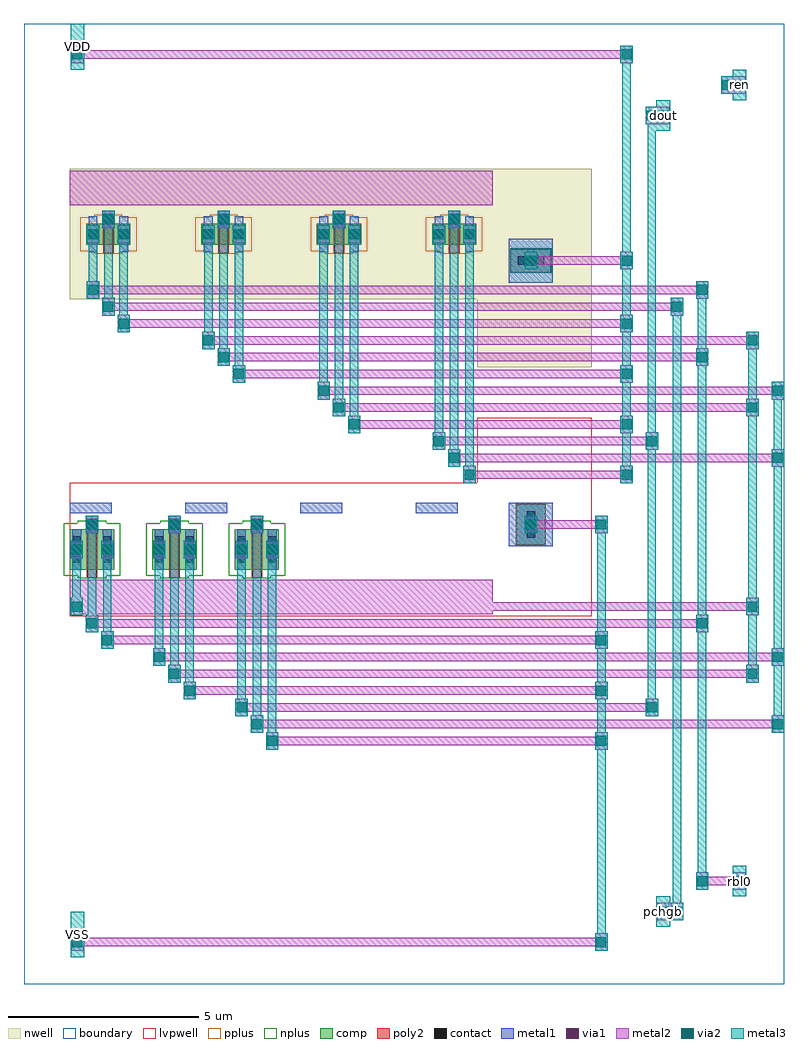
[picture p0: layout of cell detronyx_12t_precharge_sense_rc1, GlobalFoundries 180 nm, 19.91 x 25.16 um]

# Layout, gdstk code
import gdstk
lib = gdstk.Library(unit=1e-6, precision=1e-09)
def R(c, l, rs):  # rectangles x0, y0, x1, y1
    for r in rs: c.add(gdstk.rectangle(r[:2], r[2:], *l))
def A(c, l, x, y, w, h, nx, ny, dx, dy):  # array of equal rectangles
    R(c, l, [(x+i*dx, y+j*dy, x+i*dx+w, y+j*dy+h) for i in range(nx) for j in range(ny)])
boundary = (0, 0)
nwell = (21, 0)
comp = (22, 0)
poly2 = (30, 0)
pplus = (31, 0)
nplus = (32, 0)
contact = (33, 0)
metal1 = (34, 0)
via1 = (35, 0)
metal2 = (36, 0)
via2 = (38, 0)
metal3 = (42, 0)
lvpwell = (204, 0)

detronyx_12t_precharge_s = lib.new_cell('detronyx_12t_precharge_sense_rc1')
R(detronyx_12t_precharge_s, boundary, [(0,0,19.91,25.155)])
R(detronyx_12t_precharge_s, nwell, [(11.88,16.155,14.88,17.935), (1.2,17.935,14.88,21.355)])
A(detronyx_12t_precharge_s, comp, 1.2, 10.86, 1.16, 1.055, 3, 1, 2.16, 0)
A(detronyx_12t_precharge_s, comp, 1.63, 19.365, 1.16, 0.555, 4, 1, 3.02, 0)
R(detronyx_12t_precharge_s, comp, [(12.905,11.515,13.655,12.565), (12.755,18.655,13.805,19.255), (1.63,19.92,2.095,19.925), (2.325,19.92,2.79,19.925), (4.65,19.92,5.115,19.925), (5.345,19.92,5.81,19.925), (7.67,19.92,8.135,19.925), (8.365,19.92,8.83,19.925), (10.69,19.92,11.155,19.925), (11.385,19.92,11.85,19.925)])
A(detronyx_12t_precharge_s, poly2, 1.64, 10.64, 0.28, 1.55, 3, 1, 2.16, 0)
A(detronyx_12t_precharge_s, poly2, 2.07, 19.145, 0.28, 1.04, 4, 1, 3.02, 0)
A(detronyx_12t_precharge_s, pplus, 1.84, 19.135, 0.74, 0.07, 4, 2, 3.02, 0.95)
A(detronyx_12t_precharge_s, pplus, 1.47, 19.205, 1.48, 0.88, 4, 1, 3.02, 0)
R(detronyx_12t_precharge_s, pplus, [(12.885,11.495,13.675,12.585)])
A(detronyx_12t_precharge_s, nplus, 1.41, 10.63, 0.74, 0.07, 3, 2, 2.16, 1.445)
A(detronyx_12t_precharge_s, nplus, 1.04, 10.7, 1.48, 1.375, 3, 1, 2.16, 0)
R(detronyx_12t_precharge_s, nplus, [(12.735,18.635,13.825,19.275)])
A(detronyx_12t_precharge_s, contact, 1.67, 11.93, 0.22, 0.22, 3, 1, 2.16, 0)
A(detronyx_12t_precharge_s, contact, 2.1, 19.925, 0.22, 0.22, 4, 1, 3.02, 0)
R(detronyx_12t_precharge_s, contact, [(1.27,11.04,1.49,11.26), (2.07,11.04,2.29,11.26), (3.43,11.04,3.65,11.26), (4.23,11.04,4.45,11.26), (5.59,11.04,5.81,11.26), (6.39,11.04,6.61,11.26), (1.27,11.51,1.49,11.73), (2.07,11.51,2.29,11.73), (3.43,11.51,3.65,11.73), (4.23,11.51,4.45,11.73), (5.59,11.51,5.81,11.73), (6.39,11.51,6.61,11.73), (13.17,11.695,13.39,11.915), (13.17,12.165,13.39,12.385), (12.935,18.845,13.155,19.065), (13.405,18.845,13.625,19.065), (1.7,19.535,1.92,19.755), (2.5,19.535,2.72,19.755), (4.72,19.535,4.94,19.755), (5.52,19.535,5.74,19.755), (7.74,19.535,7.96,19.755), (8.54,19.535,8.76,19.755), (10.76,19.535,10.98,19.755), (11.56,19.535,11.78,19.755)])
A(detronyx_12t_precharge_s, metal1, 1.62, 11.81, 0.325, 0.46, 3, 1, 2.16, 0)
A(detronyx_12t_precharge_s, metal1, 1.2, 12.335, 1.1, 0.28, 4, 1, 3.02, 0)
A(detronyx_12t_precharge_s, metal1, 2.05, 19.805, 0.325, 0.46, 4, 1, 3.02, 0)
R(detronyx_12t_precharge_s, metal1, [(1.265,10.86,1.495,11.155), (2.065,10.86,2.295,11.155), (3.425,10.86,3.655,11.155), (4.225,10.86,4.455,11.155), (5.585,10.86,5.815,11.155), (6.385,10.86,6.615,11.155), (1.22,11.155,1.545,11.615), (2.02,11.155,2.345,11.615), (3.38,11.155,3.705,11.615), (4.18,11.155,4.505,11.615), (5.54,11.155,5.865,11.615), (6.34,11.155,6.665,11.615), (12.705,11.465,13.855,12.615), (1.265,11.615,1.495,11.915), (2.065,11.615,2.295,11.915), (3.425,11.615,3.655,11.915), (4.225,11.615,4.455,11.915), (5.585,11.615,5.815,11.915), (6.385,11.615,6.615,11.915), (12.705,18.38,13.855,19.53), (1.695,19.17,1.925,19.415), (2.495,19.17,2.725,19.415), (4.715,19.17,4.945,19.415), (5.515,19.17,5.745,19.415), (7.735,19.17,7.965,19.415), (8.535,19.17,8.765,19.415), (10.755,19.17,10.985,19.415), (11.555,19.17,11.785,19.415), (1.65,19.415,1.975,19.875), (2.45,19.415,2.775,19.875), (4.67,19.415,4.995,19.875), (5.47,19.415,5.795,19.875), (7.69,19.415,8.015,19.875), (8.49,19.415,8.815,19.875), (10.71,19.415,11.035,19.875), (11.51,19.415,11.835,19.875), (1.695,19.875,1.925,20.12), (2.495,19.875,2.725,20.12), (4.715,19.875,4.945,20.12), (5.515,19.875,5.745,20.12), (7.735,19.875,7.965,20.12), (8.535,19.875,8.765,20.12), (10.755,19.875,10.985,20.12), (11.555,19.875,11.785,20.12)])
A(detronyx_12t_precharge_s, via1, 1.65, 11.91, 0.26, 0.26, 3, 1, 2.16, 0)
A(detronyx_12t_precharge_s, via1, 2.08, 19.905, 0.26, 0.26, 4, 1, 3.02, 0)
R(detronyx_12t_precharge_s, via1, [(1.25,11.255,1.51,11.515), (2.05,11.255,2.31,11.515), (3.41,11.255,3.67,11.515), (4.21,11.255,4.47,11.515), (5.57,11.255,5.83,11.515), (6.37,11.255,6.63,11.515), (13.15,11.91,13.41,12.17), (13.15,18.825,13.41,19.085), (1.68,19.515,1.94,19.775), (2.48,19.515,2.74,19.775), (4.7,19.515,4.96,19.775), (5.5,19.515,5.76,19.775), (7.72,19.515,7.98,19.775), (8.52,19.515,8.78,19.775), (10.74,19.515,11,19.775), (11.54,19.515,11.8,19.775)])
A(detronyx_12t_precharge_s, metal2, 1.62, 11.81, 0.325, 0.46, 3, 1, 2.16, 0)
A(detronyx_12t_precharge_s, metal2, 2.05, 19.805, 0.325, 0.46, 4, 1, 3.02, 0)
R(detronyx_12t_precharge_s, metal2, [(1.24,0.87,1.565,0.99), (14.965,0.87,15.29,0.99), (1.24,0.99,15.29,1.21), (1.24,1.21,1.565,1.33), (14.965,1.21,15.29,1.33), (16.585,1.67,16.91,1.79), (16.945,1.67,17.27,1.79), (16.585,1.79,17.27,2.01), (16.585,2.01,16.91,2.13), (16.945,2.01,17.27,2.13), (17.605,2.47,17.93,2.59), (18.585,2.47,18.91,2.59), (17.605,2.59,18.91,2.81), (17.605,2.81,17.93,2.93), (18.585,2.81,18.91,2.93), (6.34,6.14,6.665,6.26), (14.965,6.14,15.29,6.26), (6.34,6.26,15.29,6.48), (6.34,6.48,6.665,6.6), (14.965,6.48,15.29,6.6), (5.94,6.58,6.265,6.7), (19.585,6.58,19.91,6.7), (5.94,6.7,19.91,6.92), (5.94,6.92,6.265,7.04), (19.585,6.92,19.91,7.04), (5.54,7.02,5.865,7.14), (16.285,7.02,16.61,7.14), (5.54,7.14,16.61,7.36), (5.54,7.36,5.865,7.48), (16.285,7.36,16.61,7.48), (4.18,7.46,4.505,7.58), (14.965,7.46,15.29,7.58), (4.18,7.58,15.29,7.8), (4.18,7.8,4.505,7.92), (14.965,7.8,15.29,7.92), (3.78,7.9,4.105,8.02), (18.925,7.9,19.25,8.02), (3.78,8.02,19.25,8.24), (3.78,8.24,4.105,8.36), (18.925,8.24,19.25,8.36), (3.38,8.34,3.705,8.46), (19.585,8.34,19.91,8.46), (3.38,8.46,19.91,8.68), (3.38,8.68,3.705,8.8), (19.585,8.68,19.91,8.8), (2.02,8.78,2.345,8.9), (14.965,8.78,15.29,8.9), (2.02,8.9,15.29,9.12), (2.02,9.12,2.345,9.24), (14.965,9.12,15.29,9.24), (1.62,9.22,1.945,9.34), (17.605,9.22,17.93,9.34), (1.62,9.34,17.93,9.56), (1.62,9.56,1.945,9.68), (17.605,9.56,17.93,9.68), (1.22,9.66,1.545,9.69), (18.925,9.66,19.25,9.78), (1.2,9.69,12.28,9.78), (1.2,9.78,19.25,10), (1.2,10,12.28,10.59), (18.925,10,19.25,10.12), (1.22,11.155,1.545,11.615), (2.02,11.155,2.345,11.615), (3.38,11.155,3.705,11.615), (4.18,11.155,4.505,11.615), (5.54,11.155,5.865,11.615), (6.34,11.155,6.665,11.615), (13.12,11.81,13.445,11.93), (14.965,11.81,15.29,11.93), (13.12,11.93,15.29,12.15), (13.12,12.15,13.445,12.27), (14.965,12.15,15.29,12.27), (11.51,13.115,11.835,13.235), (15.625,13.115,15.95,13.235), (11.51,13.235,15.95,13.455), (11.51,13.455,11.835,13.575), (15.625,13.455,15.95,13.575), (11.11,13.555,11.435,13.675), (19.585,13.555,19.91,13.675), (11.11,13.675,19.91,13.895), (11.11,13.895,11.435,14.015), (19.585,13.895,19.91,14.015), (10.71,13.995,11.035,14.115), (16.285,13.995,16.61,14.115), (10.71,14.115,16.61,14.335), (10.71,14.335,11.035,14.455), (16.285,14.335,16.61,14.455), (8.49,14.435,8.815,14.555), (15.625,14.435,15.95,14.555), (8.49,14.555,15.95,14.775), (8.49,14.775,8.815,14.895), (15.625,14.775,15.95,14.895), (8.09,14.875,8.415,14.995), (18.925,14.875,19.25,14.995), (8.09,14.995,19.25,15.215), (8.09,15.215,8.415,15.335), (18.925,15.215,19.25,15.335), (7.69,15.315,8.015,15.435), (19.585,15.315,19.91,15.435), (7.69,15.435,19.91,15.655), (7.69,15.655,8.015,15.775), (19.585,15.655,19.91,15.775), (5.47,15.755,5.795,15.875), (15.625,15.755,15.95,15.875), (5.47,15.875,15.95,16.095), (5.47,16.095,5.795,16.215), (15.625,16.095,15.95,16.215), (5.07,16.195,5.395,16.315), (17.605,16.195,17.93,16.315), (5.07,16.315,17.93,16.535), (5.07,16.535,5.395,16.655), (17.605,16.535,17.93,16.655), (4.67,16.635,4.995,16.755), (18.925,16.635,19.25,16.755), (4.67,16.755,19.25,16.975), (4.67,16.975,4.995,17.095), (18.925,16.975,19.25,17.095), (2.45,17.075,2.775,17.195), (15.625,17.075,15.95,17.195), (2.45,17.195,15.95,17.415), (2.45,17.415,2.775,17.535), (15.625,17.415,15.95,17.535), (2.05,17.515,2.375,17.635), (16.945,17.515,17.27,17.635), (2.05,17.635,17.27,17.855), (2.05,17.855,2.375,17.975), (16.945,17.855,17.27,17.975), (1.65,17.955,1.975,18.075), (17.605,17.955,17.93,18.075), (1.65,18.075,17.93,18.295), (1.65,18.295,1.975,18.415), (17.605,18.295,17.93,18.415), (13.12,18.725,13.445,18.845), (15.625,18.725,15.95,18.845), (13.12,18.845,15.95,19.065), (13.12,19.065,13.445,19.185), (15.625,19.065,15.95,19.185), (1.65,19.415,1.975,19.875), (2.45,19.415,2.775,19.875), (4.67,19.415,4.995,19.875), (5.47,19.415,5.795,19.875), (7.69,19.415,8.015,19.875), (8.49,19.415,8.815,19.875), (10.71,19.415,11.035,19.875), (11.51,19.415,11.835,19.875), (1.2,20.405,12.28,21.305), (16.285,22.525,16.91,22.985), (18.265,23.325,18.91,23.785), (1.24,24.125,1.565,24.245), (15.625,24.125,15.95,24.245), (1.24,24.245,15.95,24.465), (1.24,24.465,1.565,24.585), (15.625,24.465,15.95,24.585)])
A(detronyx_12t_precharge_s, via2, 14.995, 6.24, 0.26, 0.26, 1, 3, 0, 1.32)
A(detronyx_12t_precharge_s, via2, 1.65, 11.91, 0.26, 0.26, 3, 1, 2.16, 0)
A(detronyx_12t_precharge_s, via2, 15.655, 13.215, 0.26, 0.26, 1, 4, 0, 1.32)
A(detronyx_12t_precharge_s, via2, 2.08, 19.905, 0.26, 0.26, 4, 1, 3.02, 0)
R(detronyx_12t_precharge_s, via2, [(1.27,0.97,1.53,1.23), (14.995,0.97,15.255,1.23), (16.615,1.77,16.875,2.03), (16.975,1.77,17.235,2.03), (17.635,2.57,17.895,2.83), (18.615,2.57,18.875,2.83), (6.37,6.24,6.63,6.5), (5.97,6.68,6.23,6.94), (19.615,6.68,19.875,6.94), (5.57,7.12,5.83,7.38), (16.315,7.12,16.575,7.38), (4.21,7.56,4.47,7.82), (3.81,8,4.07,8.26), (18.955,8,19.215,8.26), (3.41,8.44,3.67,8.7), (19.615,8.44,19.875,8.7), (2.05,8.88,2.31,9.14), (1.65,9.32,1.91,9.58), (17.635,9.32,17.895,9.58), (1.25,9.76,1.51,10.02), (18.955,9.76,19.215,10.02), (1.25,11.255,1.51,11.515), (2.05,11.255,2.31,11.515), (3.41,11.255,3.67,11.515), (4.21,11.255,4.47,11.515), (5.57,11.255,5.83,11.515), (6.37,11.255,6.63,11.515), (13.15,11.91,13.41,12.17), (14.995,11.91,15.255,12.17), (11.54,13.215,11.8,13.475), (11.14,13.655,11.4,13.915), (19.615,13.655,19.875,13.915), (10.74,14.095,11,14.355), (16.315,14.095,16.575,14.355), (8.52,14.535,8.78,14.795), (8.12,14.975,8.38,15.235), (18.955,14.975,19.215,15.235), (7.72,15.415,7.98,15.675), (19.615,15.415,19.875,15.675), (5.5,15.855,5.76,16.115), (5.1,16.295,5.36,16.555), (17.635,16.295,17.895,16.555), (4.7,16.735,4.96,16.995), (18.955,16.735,19.215,16.995), (2.48,17.175,2.74,17.435), (2.08,17.615,2.34,17.875), (16.975,17.615,17.235,17.875), (1.68,18.055,1.94,18.315), (17.635,18.055,17.895,18.315), (13.15,18.825,13.41,19.085), (15.655,18.825,15.915,19.085), (1.68,19.515,1.94,19.775), (2.48,19.515,2.74,19.775), (4.7,19.515,4.96,19.775), (5.5,19.515,5.76,19.775), (7.72,19.515,7.98,19.775), (8.52,19.515,8.78,19.775), (10.74,19.515,11,19.775), (11.54,19.515,11.8,19.775), (16.315,22.625,16.575,22.885), (16.615,22.625,16.875,22.885), (18.295,23.425,18.555,23.685), (18.615,23.425,18.875,23.685), (1.27,24.225,1.53,24.485), (15.655,24.225,15.915,24.485)])
A(detronyx_12t_precharge_s, metal3, 14.965, 6.14, 0.325, 0.46, 1, 3, 0, 1.32)
A(detronyx_12t_precharge_s, metal3, 1.62, 11.81, 0.325, 0.46, 3, 1, 2.16, 0)
A(detronyx_12t_precharge_s, metal3, 15.625, 13.115, 0.325, 0.46, 1, 4, 0, 1.32)
A(detronyx_12t_precharge_s, metal3, 15.675, 13.575, 0.22, 0.86, 1, 3, 0, 1.32)
A(detronyx_12t_precharge_s, metal3, 2.05, 19.805, 0.325, 0.46, 4, 1, 3.02, 0)
R(detronyx_12t_precharge_s, metal3, [(1.22,0.7,1.58,1.9), (14.965,0.87,15.29,1.33), (15.015,1.33,15.235,6.14), (16.565,1.5,16.925,2.3), (16.945,1.67,17.27,2.13), (16.995,2.13,17.215,17.515), (18.565,2.3,18.925,3.1), (17.605,2.47,17.93,2.93), (17.655,2.93,17.875,9.22), (6.34,6.14,6.665,6.6), (5.94,6.58,6.265,7.04), (19.585,6.58,19.91,7.04), (6.39,6.6,6.61,11.155), (15.015,6.6,15.235,7.46), (5.54,7.02,5.865,7.48), (16.285,7.02,16.61,7.48), (5.99,7.04,6.21,11.81), (19.635,7.04,19.855,8.34), (4.18,7.46,4.505,7.92), (5.59,7.48,5.81,11.155), (16.335,7.48,16.555,13.995), (3.78,7.9,4.105,8.36), (18.925,7.9,19.25,8.36), (4.23,7.92,4.45,11.155), (15.015,7.92,15.235,8.78), (3.38,8.34,3.705,8.8), (19.585,8.34,19.91,8.8), (3.83,8.36,4.05,11.81), (18.975,8.36,19.195,9.66), (2.02,8.78,2.345,9.24), (3.43,8.8,3.65,11.155), (19.635,8.8,19.855,13.555), (1.62,9.22,1.945,9.68), (17.605,9.22,17.93,9.68), (2.07,9.24,2.29,11.155), (15.015,9.24,15.235,11.81), (1.22,9.66,1.545,10.12), (18.925,9.66,19.25,10.12), (1.67,9.68,1.89,11.81), (17.655,9.68,17.875,16.195), (1.27,10.12,1.49,11.155), (18.975,10.12,19.195,14.875), (1.22,11.155,1.545,11.615), (2.02,11.155,2.345,11.615), (3.38,11.155,3.705,11.615), (4.18,11.155,4.505,11.615), (5.54,11.155,5.865,11.615), (6.34,11.155,6.665,11.615), (13.12,11.81,13.445,12.27), (14.965,11.81,15.29,12.27), (11.51,13.115,11.835,13.575), (11.11,13.555,11.435,14.015), (19.585,13.555,19.91,14.015), (11.56,13.575,11.78,19.415), (10.71,13.995,11.035,14.455), (16.285,13.995,16.61,14.455), (11.16,14.015,11.38,19.805), (19.635,14.015,19.855,15.315), (8.49,14.435,8.815,14.895), (10.76,14.455,10.98,19.415), (16.335,14.455,16.555,22.525), (8.09,14.875,8.415,15.335), (18.925,14.875,19.25,15.335), (8.54,14.895,8.76,19.415), (7.69,15.315,8.015,15.775), (19.585,15.315,19.91,15.775), (8.14,15.335,8.36,19.805), (18.975,15.335,19.195,16.635), (5.47,15.755,5.795,16.215), (7.74,15.775,7.96,19.415), (5.07,16.195,5.395,16.655), (17.605,16.195,17.93,16.655), (5.52,16.215,5.74,19.415), (4.67,16.635,4.995,17.095), (18.925,16.635,19.25,17.095), (5.12,16.655,5.34,19.805), (17.655,16.655,17.875,17.955), (2.45,17.075,2.775,17.535), (4.72,17.095,4.94,19.415), (2.05,17.515,2.375,17.975), (16.945,17.515,17.27,17.975), (2.5,17.535,2.72,19.415), (15.675,17.535,15.895,18.725), (1.65,17.955,1.975,18.415), (17.605,17.955,17.93,18.415), (2.1,17.975,2.32,19.805), (1.7,18.415,1.92,19.415), (13.12,18.725,13.445,19.185), (15.625,18.725,15.95,19.185), (15.675,19.185,15.895,24.125), (1.65,19.415,1.975,19.875), (2.45,19.415,2.775,19.875), (4.67,19.415,4.995,19.875), (5.47,19.415,5.795,19.875), (7.69,19.415,8.015,19.875), (8.49,19.415,8.815,19.875), (10.71,19.415,11.035,19.875), (11.51,19.415,11.835,19.875), (16.565,22.355,16.925,22.525), (16.285,22.525,16.925,22.985), (16.565,22.985,16.925,23.155), (18.565,23.155,18.925,23.325), (18.265,23.325,18.925,23.785), (18.565,23.785,18.925,23.955), (1.22,23.955,1.58,25.155), (15.625,24.125,15.95,24.585)])
R(detronyx_12t_precharge_s, lvpwell, [(1.2,9.64,14.88,13.135), (11.88,13.135,14.88,14.84)])
detronyx_12t_precharge_s.add(gdstk.Label('VDD', (1.4,24.555), layer=42, texttype=10))
detronyx_12t_precharge_s.add(gdstk.Label('VSS', (1.4,1.3), layer=42, texttype=10))
detronyx_12t_precharge_s.add(gdstk.Label('pchgb', (16.745,1.9), layer=42, texttype=10))
detronyx_12t_precharge_s.add(gdstk.Label('ren', (18.745,23.555), layer=42, texttype=10))
detronyx_12t_precharge_s.add(gdstk.Label('rbl0', (18.745,2.7), layer=42, texttype=10))
detronyx_12t_precharge_s.add(gdstk.Label('dout', (16.745,22.755), layer=42, texttype=10))

lib.write_gds('detronyx_12t_precharge_sense_rc1.gds')
